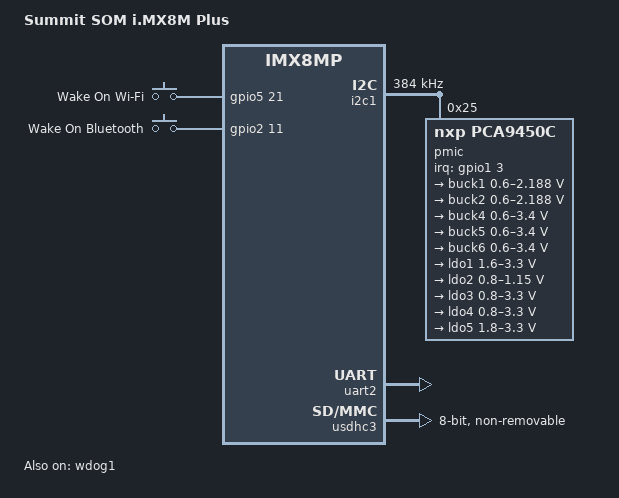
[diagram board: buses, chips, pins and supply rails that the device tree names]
// SPDX-License-Identifier: LicenseRef-Ezurio-Clause
/*
 * Copyright 2021 Ezurio
 */

#include <dt-bindings/phy/phy-imx8-pcie.h>
#include <dt-bindings/usb/pd.h>

#include "imx8mp.dtsi"

/ {
	model = "Summit SOM i.MX8M Plus";
	compatible = "summit,imx8mp-summitsom", "fsl,imx8mp";

	chosen {
		stdout-path = &uart2;
	};

	reserved-memory {
		linux,cma {
			size = <0 0x12000000>;
		};
	};

	reg_usdhc2_vmmc: regulator-usdhc2 {
		compatible = "regulator-fixed";
		status = "disabled";

		pinctrl-names = "default";
		pinctrl-0 = <&pinctrl_reg_usdhc2_vmmc>;

		regulator-name = "VSD_3V3";
		regulator-min-microvolt = <3300000>;
		regulator-max-microvolt = <3300000>;

		gpio = <&gpio2 19 GPIO_ACTIVE_HIGH>;
		enable-active-high;

		startup-delay-us = <5000>;
	};

	radio_wake {
		compatible = "gpio-keys";
		pinctrl-names = "default";
		pinctrl-0 = <&pinctrl_radio_wake>;

		wifi_wake: wake_on_wifi {
			label = "Wake On Wi-Fi";
			interrupts-extended = <&gpio5 21 IRQ_TYPE_EDGE_FALLING>;
			interrupt-names = "irq";
			//gpios = <&gpio5 21 GPIO_ACTIVE_LOW>;
			linux,code = <KEY_WAKEUP>;
			wakeup-source;
		};

		wake_on_bt {
			label = "Wake On Bluetooth";
			interrupts-extended = <&gpio2 11 IRQ_TYPE_EDGE_FALLING>;
			interrupt-names = "irq";
			//gpios = <&gpio2 11 GPIO_ACTIVE_LOW>;
			linux,code = <KEY_WAKEUP>;
			wakeup-source;
		};
	};

	display_subsystem: display-subsystem {
		status = "disabled";
	};
};

&A53_0 {
	cpu-supply = <&buck2>;
};

&A53_1 {
	cpu-supply = <&buck2>;
};

&A53_2 {
	cpu-supply = <&buck2>;
};

&A53_3 {
	cpu-supply = <&buck2>;
};

&cpu_alert0 {
	temperature = <95000>;
};

&cpu_crit0 {
	temperature = <105000>;
};

&soc_alert0 {
	temperature = <95000>;
};

&soc_crit0 {
	temperature = <105000>;
};

&i2c1 {
	clock-frequency = <384000>;
	pinctrl-names = "default";
	pinctrl-0 = <&pinctrl_i2c1>;
	status = "okay";

	#address-cells = <1>;
	#size-cells = <0>;

	pmic: pmic@25 {
		compatible = "nxp,pca9450c";
		reg = <0x25>;
		pinctrl-names = "default";
		pinctrl-0 = <&pinctrl_pmic>;
		interrupt-parent = <&gpio1>;
		interrupts = <3 IRQ_TYPE_LEVEL_LOW>;

		pmic_reg: regulators {
			buck1: BUCK1 {
				regulator-name = "BUCK1";
				regulator-min-microvolt = <600000>;
				regulator-max-microvolt = <2187500>;
				regulator-boot-on;
				regulator-always-on;
				regulator-ramp-delay = <3125>;
			};

			buck2: BUCK2 {
				regulator-name = "BUCK2";
				regulator-min-microvolt = <600000>;
				regulator-max-microvolt = <2187500>;
				regulator-boot-on;
				regulator-always-on;
				regulator-ramp-delay = <3125>;
				nxp,dvs-run-voltage = <950000>;
				nxp,dvs-standby-voltage = <850000>;
			};

			buck4: BUCK4{
				regulator-name = "BUCK4";
				regulator-min-microvolt = <600000>;
				regulator-max-microvolt = <3400000>;
				regulator-boot-on;
				regulator-always-on;
			};

			buck5: BUCK5{
				regulator-name = "BUCK5";
				regulator-min-microvolt = <600000>;
				regulator-max-microvolt = <3400000>;
				regulator-boot-on;
				regulator-always-on;
			};

			buck6: BUCK6 {
				regulator-name = "BUCK6";
				regulator-min-microvolt = <600000>;
				regulator-max-microvolt = <3400000>;
				regulator-boot-on;
				regulator-always-on;
			};

			ldo1: LDO1 {
				regulator-name = "LDO1";
				regulator-min-microvolt = <1600000>;
				regulator-max-microvolt = <3300000>;
				regulator-boot-on;
				regulator-always-on;
			};

			ldo2: LDO2 {
				regulator-name = "LDO2";
				regulator-min-microvolt = <800000>;
				regulator-max-microvolt = <1150000>;
				regulator-boot-on;
				regulator-always-on;
			};

			ldo3: LDO3 {
				regulator-name = "LDO3";
				regulator-min-microvolt = <800000>;
				regulator-max-microvolt = <3300000>;
				regulator-boot-on;
				regulator-always-on;
			};

			ldo4: LDO4 {
				regulator-name = "LDO4";
				regulator-min-microvolt = <800000>;
				regulator-max-microvolt = <3300000>;
				regulator-boot-on;
				regulator-always-on;
			};

			ldo5: LDO5 {
				regulator-name = "LDO5";
				regulator-min-microvolt = <1800000>;
				regulator-max-microvolt = <3300000>;
				regulator-boot-on;
				regulator-always-on;
			};
		};
	};
};


&pcie {
	clocks = <&clk IMX8MP_CLK_HSIO_ROOT>,
	         <&clk IMX8MP_CLK_PCIE_ROOT>,
	         <&clk IMX8MP_CLK_HSIO_AXI>;
	clock-names = "pcie", "pcie_aux", "pcie_bus";
	assigned-clocks = <&clk IMX8MP_CLK_PCIE_AUX>;

	assigned-clock-rates = <10000000>;
	assigned-clock-parents = <&clk IMX8MP_SYS_PLL2_50M>;
};

&pcie_phy {
	fsl,refclk-pad-mode = <IMX8_PCIE_REFCLK_PAD_OUTPUT>;
	clocks = <&hsio_blk_ctrl>;
	clock-names = "ref";
};

&uart1 {
	assigned-clocks = <&clk IMX8MP_CLK_UART1>;
	assigned-clock-parents = <&clk IMX8MP_SYS_PLL1_80M>;
};

&uart2 {
	/* console */
	pinctrl-names = "default";
	pinctrl-0 = <&pinctrl_uart2>;
	status = "okay";
};

&uart3 {
	/* BT */
	pinctrl-names = "default";
	pinctrl-0 = <&pinctrl_uart3>;
	assigned-clocks = <&clk IMX8MP_CLK_UART3>;
	assigned-clock-parents = <&clk IMX8MP_SYS_PLL1_80M>;
	uart-has-rtscts;
};

&usdhc1 {
	pinctrl-names = "default", "state_100mhz", "state_200mhz";
	pinctrl-0 = <&pinctrl_usdhc1>;
	pinctrl-1 = <&pinctrl_usdhc1_100mhz>;
	pinctrl-2 = <&pinctrl_usdhc1_200mhz>;

	assigned-clocks = <&clk IMX8MP_CLK_USDHC1>;
	assigned-clock-rates = <400000000>;
	assigned-clock-parents = <&clk IMX8MP_SYS_PLL1_400M>;
};

&usdhc2 {
	pinctrl-names = "default", "state_100mhz", "state_200mhz";
	pinctrl-0 = <&pinctrl_usdhc2>;
	pinctrl-1 = <&pinctrl_usdhc2_100mhz>;
	pinctrl-2 = <&pinctrl_usdhc2_200mhz>;

	assigned-clocks = <&clk IMX8MP_CLK_USDHC2>;
	assigned-clock-rates = <400000000>;
	assigned-clock-parents = <&clk IMX8MP_SYS_PLL1_400M>;
};

&usdhc3 {
	pinctrl-names = "default", "state_100mhz", "state_200mhz";

	pinctrl-0 = <&pinctrl_usdhc3>;
	pinctrl-1 = <&pinctrl_usdhc3_100mhz>;
	pinctrl-2 = <&pinctrl_usdhc3_200mhz>;

	assigned-clocks = <&clk IMX8MP_CLK_USDHC3>;
	assigned-clock-rates = <400000000>;
	assigned-clock-parents = <&clk IMX8MP_SYS_PLL1_400M>;

	bus-width = <8>;
	non-removable;

	status = "okay";
};

&wdog1 {
	pinctrl-names = "default";
	pinctrl-0 = <&pinctrl_wdog>;
	fsl,ext-reset-output;
	status = "okay";
};

&iomuxc {
	pinctrl_i2c1: i2c1-grp {
		fsl,pins = <
			MX8MP_IOMUXC_I2C1_SCL__I2C1_SCL		0x400001c2
			MX8MP_IOMUXC_I2C1_SDA__I2C1_SDA		0x400001c2
		>;
	};

	pinctrl_pmic: pmic-irq-grp {
		fsl,pins = <
			MX8MP_IOMUXC_GPIO1_IO03__GPIO1_IO03	0x040
		>;
	};

	pinctrl_i2c1_gpio: i2c1-gpio-grp {
		fsl,pins = <
			MX8MP_IOMUXC_I2C1_SCL__GPIO5_IO14	0x1c2
			MX8MP_IOMUXC_I2C1_SDA__GPIO5_IO15	0x1c2
		>;
	};

	pinctrl_uart2: uart2-grp {
		fsl,pins = <
			MX8MP_IOMUXC_UART2_RXD__UART2_DCE_RX	0x1c0
			MX8MP_IOMUXC_UART2_TXD__UART2_DCE_TX	0x0c0
		>;
	};

	pinctrl_uart3: uart3-grp {
		fsl,pins = <
			MX8MP_IOMUXC_ECSPI1_SCLK__UART3_DCE_RX	0x1c0
			MX8MP_IOMUXC_ECSPI1_MOSI__UART3_DCE_TX	0x1c0
			MX8MP_IOMUXC_ECSPI1_SS0__UART3_DCE_RTS	0x1c0
			MX8MP_IOMUXC_ECSPI1_MISO__UART3_DCE_CTS	0x1c0
		>;
	};

	pinctrl_usdhc1: usdhc1-grp {
		fsl,pins = <
			MX8MP_IOMUXC_SD1_CLK__USDHC1_CLK	0x180
			MX8MP_IOMUXC_SD1_CMD__USDHC1_CMD	0x1c0
			MX8MP_IOMUXC_SD1_DATA0__USDHC1_DATA0	0x1c0
			MX8MP_IOMUXC_SD1_DATA1__USDHC1_DATA1	0x1c0
			MX8MP_IOMUXC_SD1_DATA2__USDHC1_DATA2	0x1c0
			MX8MP_IOMUXC_SD1_DATA3__USDHC1_DATA3	0x1c0
		>;
	};

	pinctrl_usdhc1_100mhz: usdhc1-grp-100mhz {
		fsl,pins = <
			MX8MP_IOMUXC_SD1_CLK__USDHC1_CLK	0x194
			MX8MP_IOMUXC_SD1_CMD__USDHC1_CMD	0x1d4
			MX8MP_IOMUXC_SD1_DATA0__USDHC1_DATA0	0x1d4
			MX8MP_IOMUXC_SD1_DATA1__USDHC1_DATA1	0x1d4
			MX8MP_IOMUXC_SD1_DATA2__USDHC1_DATA2	0x1d4
			MX8MP_IOMUXC_SD1_DATA3__USDHC1_DATA3	0x1d4
		>;
	};

	pinctrl_usdhc1_200mhz: usdhc1-grp-200mhz {
		fsl,pins = <
			MX8MP_IOMUXC_SD1_CLK__USDHC1_CLK	0x196
			MX8MP_IOMUXC_SD1_CMD__USDHC1_CMD	0x1d6
			MX8MP_IOMUXC_SD1_DATA0__USDHC1_DATA0	0x1d6
			MX8MP_IOMUXC_SD1_DATA1__USDHC1_DATA1	0x1d6
			MX8MP_IOMUXC_SD1_DATA2__USDHC1_DATA2	0x1d6
			MX8MP_IOMUXC_SD1_DATA3__USDHC1_DATA3	0x1d6
		>;
	};

	pinctrl_usdhc2: usdhc2-grp {
		fsl,pins = <
			MX8MP_IOMUXC_SD2_CLK__USDHC2_CLK	0x190
			MX8MP_IOMUXC_SD2_CMD__USDHC2_CMD	0x1d0
			MX8MP_IOMUXC_SD2_DATA0__USDHC2_DATA0	0x1d0
			MX8MP_IOMUXC_SD2_DATA1__USDHC2_DATA1	0x1d0
			MX8MP_IOMUXC_SD2_DATA2__USDHC2_DATA2	0x1d0
			MX8MP_IOMUXC_SD2_DATA3__USDHC2_DATA3	0x1d0
			MX8MP_IOMUXC_GPIO1_IO04__USDHC2_VSELECT	0x0c0
		>;
	};

	pinctrl_usdhc2_100mhz: usdhc2-100mhz-grp {
		fsl,pins = <
			MX8MP_IOMUXC_SD2_CLK__USDHC2_CLK	0x194
			MX8MP_IOMUXC_SD2_CMD__USDHC2_CMD	0x1d4
			MX8MP_IOMUXC_SD2_DATA0__USDHC2_DATA0	0x1d4
			MX8MP_IOMUXC_SD2_DATA1__USDHC2_DATA1	0x1d4
			MX8MP_IOMUXC_SD2_DATA2__USDHC2_DATA2	0x1d4
			MX8MP_IOMUXC_SD2_DATA3__USDHC2_DATA3	0x1d4
			MX8MP_IOMUXC_GPIO1_IO04__USDHC2_VSELECT 0x0c0
		>;
	};

	pinctrl_usdhc2_200mhz: usdhc2-200mhz-grp {
		fsl,pins = <
			MX8MP_IOMUXC_SD2_CLK__USDHC2_CLK	0x196
			MX8MP_IOMUXC_SD2_CMD__USDHC2_CMD	0x1d6
			MX8MP_IOMUXC_SD2_DATA0__USDHC2_DATA0	0x1d6
			MX8MP_IOMUXC_SD2_DATA1__USDHC2_DATA1	0x1d6
			MX8MP_IOMUXC_SD2_DATA2__USDHC2_DATA2	0x1d6
			MX8MP_IOMUXC_SD2_DATA3__USDHC2_DATA3	0x1d6
			MX8MP_IOMUXC_GPIO1_IO04__USDHC2_VSELECT 0x0c0
		>;
	};

	pinctrl_usdhc3: usdhc3-grp {
		fsl,pins = <
			MX8MP_IOMUXC_NAND_WE_B__USDHC3_CLK	0x190
			MX8MP_IOMUXC_NAND_WP_B__USDHC3_CMD	0x1d0
			MX8MP_IOMUXC_NAND_DATA04__USDHC3_DATA0	0x1d0
			MX8MP_IOMUXC_NAND_DATA05__USDHC3_DATA1	0x1d0
			MX8MP_IOMUXC_NAND_DATA06__USDHC3_DATA2	0x1d0
			MX8MP_IOMUXC_NAND_DATA07__USDHC3_DATA3	0x1d0
			MX8MP_IOMUXC_NAND_RE_B__USDHC3_DATA4	0x1d0
			MX8MP_IOMUXC_NAND_CE2_B__USDHC3_DATA5	0x1d0
			MX8MP_IOMUXC_NAND_CE3_B__USDHC3_DATA6	0x1d0
			MX8MP_IOMUXC_NAND_CLE__USDHC3_DATA7	0x1d0
			MX8MP_IOMUXC_NAND_CE1_B__USDHC3_STROBE	0x190
		>;
	};

	pinctrl_usdhc3_100mhz: usdhc3-100mhz-grp {
		fsl,pins = <
			MX8MP_IOMUXC_NAND_WE_B__USDHC3_CLK	0x194
			MX8MP_IOMUXC_NAND_WP_B__USDHC3_CMD	0x1d4
			MX8MP_IOMUXC_NAND_DATA04__USDHC3_DATA0	0x1d4
			MX8MP_IOMUXC_NAND_DATA05__USDHC3_DATA1	0x1d4
			MX8MP_IOMUXC_NAND_DATA06__USDHC3_DATA2	0x1d4
			MX8MP_IOMUXC_NAND_DATA07__USDHC3_DATA3	0x1d4
			MX8MP_IOMUXC_NAND_RE_B__USDHC3_DATA4	0x1d4
			MX8MP_IOMUXC_NAND_CE2_B__USDHC3_DATA5	0x1d4
			MX8MP_IOMUXC_NAND_CE3_B__USDHC3_DATA6	0x1d4
			MX8MP_IOMUXC_NAND_CLE__USDHC3_DATA7	0x1d4
			MX8MP_IOMUXC_NAND_CE1_B__USDHC3_STROBE	0x194
		>;
	};

	pinctrl_usdhc3_200mhz: usdhc3-200mhz-grp {
		fsl,pins = <
			MX8MP_IOMUXC_NAND_WE_B__USDHC3_CLK	0x196
			MX8MP_IOMUXC_NAND_WP_B__USDHC3_CMD	0x1d6
			MX8MP_IOMUXC_NAND_DATA04__USDHC3_DATA0	0x1d6
			MX8MP_IOMUXC_NAND_DATA05__USDHC3_DATA1	0x1d6
			MX8MP_IOMUXC_NAND_DATA06__USDHC3_DATA2	0x1d6
			MX8MP_IOMUXC_NAND_DATA07__USDHC3_DATA3	0x1d6
			MX8MP_IOMUXC_NAND_RE_B__USDHC3_DATA4	0x1d6
			MX8MP_IOMUXC_NAND_CE2_B__USDHC3_DATA5	0x1d6
			MX8MP_IOMUXC_NAND_CE3_B__USDHC3_DATA6	0x1d6
			MX8MP_IOMUXC_NAND_CLE__USDHC3_DATA7	0x1d6
			MX8MP_IOMUXC_NAND_CE1_B__USDHC3_STROBE	0x196
		>;
	};

	pinctrl_reg_usdhc2_vmmc: reg-usdhc2-vmmc-grp {
		fsl,pins = <
			MX8MP_IOMUXC_SD2_RESET_B__GPIO2_IO19	0x040
		>;
	};

	pinctrl_wdog: wdog-grp {
		fsl,pins = <
			MX8MP_IOMUXC_GPIO1_IO02__WDOG1_WDOG_B	0xc6
		>;
	};

	pinctrl_wifibs: wifibs-grp {
		fsl,pins = <
			MX8MP_IOMUXC_SD1_DATA6__GPIO2_IO08	0x000
			MX8MP_IOMUXC_SD1_DATA7__GPIO2_IO09	0x000
		>;
	};

	pinctrl_wifi_pmu: wifi-pmu-grp {
		fsl,pins = <
			MX8MP_IOMUXC_SD1_RESET_B__GPIO2_IO10	0x000
		>;
	};

	pinctrl_pcie_disable: pcie-disable-grp {
		fsl,pins = <
			MX8MP_IOMUXC_SD1_DATA5__GPIO2_IO07	0x000
		>;
	};

	pinctrl_pcie_reset: pcie-reset-grp {
		fsl,pins = <
			MX8MP_IOMUXC_SD1_DATA4__GPIO2_IO06	0x000
		>;
	};

	pinctrl_pcie_clkreq: pcie-clkreq-grp {
		fsl,pins = <
			MX8MP_IOMUXC_I2C4_SCL__PCIE_CLKREQ_B	0x060 /* open drain, pull up */
		>;
	};

	pinctrl_radio_wake: pcie-wake-grp {
		fsl,pins = <
			MX8MP_IOMUXC_I2C4_SDA__GPIO5_IO21	0x1c0
			MX8MP_IOMUXC_NAND_DQS__GPIO3_IO14	0x1c0
			MX8MP_IOMUXC_SD1_STROBE__GPIO2_IO11	0x1c0
		>;
	};
};
